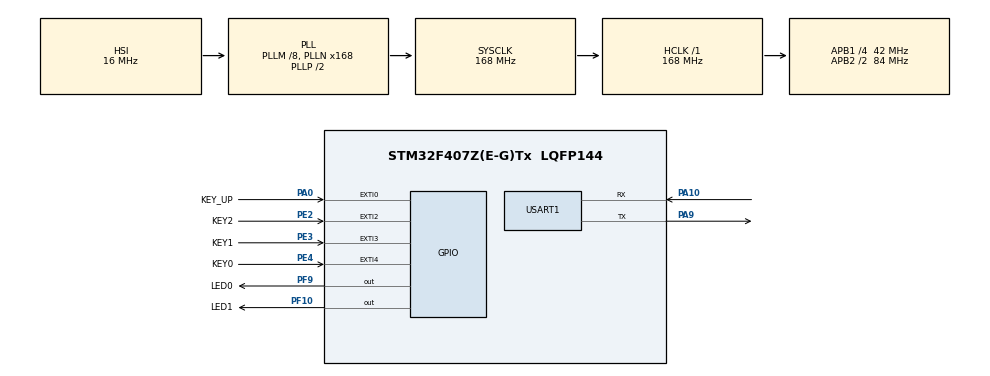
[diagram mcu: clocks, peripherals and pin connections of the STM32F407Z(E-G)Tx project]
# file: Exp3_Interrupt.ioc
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Mcu.Family=STM32F4
Mcu.Name=STM32F407Z(E-G)Tx
Mcu.Package=LQFP144
NVIC.EXTI0_IRQn=true\:0\:0\:false\:false\:true\:true\:true\:true
NVIC.EXTI2_IRQn=true\:0\:0\:false\:false\:true\:true\:true\:true
NVIC.EXTI3_IRQn=true\:0\:0\:false\:false\:true\:true\:true\:true
NVIC.EXTI4_IRQn=true\:0\:0\:false\:false\:true\:true\:true\:true
NVIC.PriorityGroup=NVIC_PRIORITYGROUP_4
PA0-WKUP.GPIO_Label=KEY_UP
PA0-WKUP.GPIO_ModeDefaultEXTI=GPIO_MODE_IT_RISING
PA0-WKUP.GPIO_PuPd=GPIO_PULLDOWN
PA0-WKUP.Signal=GPXTI0
PA10.Mode=Asynchronous
PA10.Signal=USART1_RX
PA9.Mode=Asynchronous
PA9.Signal=USART1_TX
PE2.GPIO_Label=KEY2
PE2.GPIO_ModeDefaultEXTI=GPIO_MODE_IT_FALLING
PE2.GPIO_PuPd=GPIO_PULLUP
PE2.Signal=GPXTI2
PE3.GPIO_Label=KEY1
PE3.GPIO_ModeDefaultEXTI=GPIO_MODE_IT_FALLING
PE3.GPIO_PuPd=GPIO_PULLUP
PE3.Signal=GPXTI3
PE4.GPIO_Label=KEY0
PE4.GPIO_ModeDefaultEXTI=GPIO_MODE_IT_FALLING
PE4.GPIO_PuPd=GPIO_PULLUP
PE4.Signal=GPXTI4
PF10.GPIO_Label=LED1
PF10.GPIO_PuPd=GPIO_PULLUP
PF10.PinState=GPIO_PIN_SET
PF10.Signal=GPIO_Output
PF9.GPIO_Label=LED0
PF9.GPIO_PuPd=GPIO_PULLUP
PF9.PinState=GPIO_PIN_SET
PF9.Signal=GPIO_Output
ProjectManager.HeapSize=0x200
ProjectManager.StackSize=0x400
ProjectManager.TargetToolchain=CMake
RCC.48MHZClocksFreq_Value=84000000
RCC.AHBFreq_Value=168000000
RCC.APB1CLKDivider=RCC_HCLK_DIV4
RCC.APB1Freq_Value=42000000
RCC.APB1TimFreq_Value=84000000
RCC.APB2CLKDivider=RCC_HCLK_DIV2
RCC.APB2Freq_Value=84000000
RCC.APB2TimFreq_Value=168000000
RCC.CortexFreq_Value=168000000
RCC.HCLKFreq_Value=168000000
RCC.HSE_VALUE=25000000
RCC.HSI_VALUE=16000000
RCC.LSE_VALUE=32768
RCC.PLLM=8
RCC.PLLN=168
RCC.SYSCLKFreq_VALUE=168000000
RCC.SYSCLKSource=RCC_SYSCLKSOURCE_PLLCLK
RCC.VCOOutputFreq_Value=336000000
USART1.VirtualMode=VM_ASYNC
board=custom

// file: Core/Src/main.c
/* USER CODE BEGIN Header */
/**
  ******************************************************************************
  * @file           : main.c
  * @brief          : Main program body
  ******************************************************************************
  * @attention
  *
  * Copyright (c) 2026 STMicroelectronics.
  * All rights reserved.
  *
  * This software is licensed under terms that can be found in the LICENSE file
  * in the root directory of this software component.
  * If no LICENSE file comes with this software, it is provided AS-IS.
  *
  ******************************************************************************
  */
/* USER CODE END Header */
#include "main.h"

UART_HandleTypeDef huart1;

/* USER CODE BEGIN PV */
typedef enum {
  IDLE, S0, S1_1, S1_2, S1_3, S2_1, S2_2
} KeyState_t;

KeyState_t currentState = IDLE;
/* USER CODE END PV */

void SystemClock_Config(void);
static void MX_GPIO_Init(void);
static void MX_USART1_UART_Init(void);

/* USER CODE BEGIN 0 */
#include <stdio.h>

#ifdef __GNUC__
#define PUTCHAR_PROTOTYPE int __io_putchar(int ch)
#else
#define PUTCHAR_PROTOTYPE int fputc(int ch, FILE *f)
#endif

PUTCHAR_PROTOTYPE {
  HAL_UART_Transmit(&huart1, (uint8_t *)&ch, 1, 0xFFFF);
  return ch;
}
/* USER CODE END 0 */

int main(void)
{

  /* MCU Configuration--------------------------------------------------------*/

  /* Reset of all peripherals, Initializes the Flash interface and the Systick. */
  HAL_Init();

  /* Configure the system clock */
  SystemClock_Config();

  /* Initialize all configured peripherals */
  MX_GPIO_Init();
  MX_USART1_UART_Init();

  /* Infinite loop */
  while (1)
  {

  }
}

void SystemClock_Config(void)
{
  RCC_OscInitTypeDef RCC_OscInitStruct = {0};
  RCC_ClkInitTypeDef RCC_ClkInitStruct = {0};

  /** Configure the main internal regulator output voltage
  */
  __HAL_RCC_PWR_CLK_ENABLE();
  __HAL_PWR_VOLTAGESCALING_CONFIG(PWR_REGULATOR_VOLTAGE_SCALE1);

  /** Initializes the RCC Oscillators according to the specified parameters
  * in the RCC_OscInitTypeDef structure.
  */
  RCC_OscInitStruct.OscillatorType = RCC_OSCILLATORTYPE_HSI;
  RCC_OscInitStruct.HSIState = RCC_HSI_ON;
  RCC_OscInitStruct.HSICalibrationValue = RCC_HSICALIBRATION_DEFAULT;
  RCC_OscInitStruct.PLL.PLLState = RCC_PLL_ON;
  RCC_OscInitStruct.PLL.PLLSource = RCC_PLLSOURCE_HSI;
  RCC_OscInitStruct.PLL.PLLM = 8;
  RCC_OscInitStruct.PLL.PLLN = 168;
  RCC_OscInitStruct.PLL.PLLP = RCC_PLLP_DIV2;
  RCC_OscInitStruct.PLL.PLLQ = 4;
  if (HAL_RCC_OscConfig(&RCC_OscInitStruct) != HAL_OK)
  {
    Error_Handler();
  }

  /** Initializes the CPU, AHB and APB buses clocks
  */
  RCC_ClkInitStruct.ClockType = RCC_CLOCKTYPE_HCLK|RCC_CLOCKTYPE_SYSCLK
                              |RCC_CLOCKTYPE_PCLK1|RCC_CLOCKTYPE_PCLK2;
  RCC_ClkInitStruct.SYSCLKSource = RCC_SYSCLKSOURCE_PLLCLK;
  RCC_ClkInitStruct.AHBCLKDivider = RCC_SYSCLK_DIV1;
  RCC_ClkInitStruct.APB1CLKDivider = RCC_HCLK_DIV4;
  RCC_ClkInitStruct.APB2CLKDivider = RCC_HCLK_DIV2;

  if (HAL_RCC_ClockConfig(&RCC_ClkInitStruct, FLASH_LATENCY_5) != HAL_OK)
  {
    Error_Handler();
  }
}

static void MX_USART1_UART_Init(void)
{

  huart1.Instance = USART1;
  huart1.Init.BaudRate = 115200;
  huart1.Init.WordLength = UART_WORDLENGTH_8B;
  huart1.Init.StopBits = UART_STOPBITS_1;
  huart1.Init.Parity = UART_PARITY_NONE;
  huart1.Init.Mode = UART_MODE_TX_RX;
  huart1.Init.HwFlowCtl = UART_HWCONTROL_NONE;
  huart1.Init.OverSampling = UART_OVERSAMPLING_16;
  if (HAL_UART_Init(&huart1) != HAL_OK)
  {
    Error_Handler();
  }

}

static void MX_GPIO_Init(void)
{
  GPIO_InitTypeDef GPIO_InitStruct = {0};

  /* GPIO Ports Clock Enable */
  __HAL_RCC_GPIOE_CLK_ENABLE();
  __HAL_RCC_GPIOF_CLK_ENABLE();
  __HAL_RCC_GPIOA_CLK_ENABLE();

  /*Configure GPIO pin Output Level */
  HAL_GPIO_WritePin(GPIOF, LED0_Pin|LED1_Pin, GPIO_PIN_SET);

  /*Configure GPIO pins : KEY2_Pin KEY1_Pin KEY0_Pin */
  GPIO_InitStruct.Pin = KEY2_Pin|KEY1_Pin|KEY0_Pin;
  GPIO_InitStruct.Mode = GPIO_MODE_IT_FALLING;
  GPIO_InitStruct.Pull = GPIO_PULLUP;
  HAL_GPIO_Init(GPIOE, &GPIO_InitStruct);

  /*Configure GPIO pins : LED0_Pin LED1_Pin */
  GPIO_InitStruct.Pin = LED0_Pin|LED1_Pin;
  GPIO_InitStruct.Mode = GPIO_MODE_OUTPUT_PP;
  GPIO_InitStruct.Pull = GPIO_PULLUP;
  GPIO_InitStruct.Speed = GPIO_SPEED_FREQ_LOW;
  HAL_GPIO_Init(GPIOF, &GPIO_InitStruct);

  /*Configure GPIO pin : KEY_UP_Pin */
  GPIO_InitStruct.Pin = KEY_UP_Pin;
  GPIO_InitStruct.Mode = GPIO_MODE_IT_RISING;
  GPIO_InitStruct.Pull = GPIO_PULLDOWN;
  HAL_GPIO_Init(KEY_UP_GPIO_Port, &GPIO_InitStruct);

  /* EXTI interrupt init*/
  HAL_NVIC_SetPriority(EXTI0_IRQn, 0, 0);
  HAL_NVIC_EnableIRQ(EXTI0_IRQn);

  HAL_NVIC_SetPriority(EXTI2_IRQn, 0, 0);
  HAL_NVIC_EnableIRQ(EXTI2_IRQn);

  HAL_NVIC_SetPriority(EXTI3_IRQn, 0, 0);
  HAL_NVIC_EnableIRQ(EXTI3_IRQn);

  HAL_NVIC_SetPriority(EXTI4_IRQn, 0, 0);
  HAL_NVIC_EnableIRQ(EXTI4_IRQn);

}

/* USER CODE BEGIN 4 */
void HAL_GPIO_EXTI_Callback(uint16_t GPIO_Pin) {
  static uint32_t last_tick = 0;
  if (HAL_GetTick() - last_tick < 200) return;
  last_tick = HAL_GetTick();

  int key = -1;

  if (GPIO_Pin == GPIO_PIN_4) { printf("k0, "); key = 0; }
  else if (GPIO_Pin == GPIO_PIN_3) { printf("k1, "); key = 1; }
  else if (GPIO_Pin == GPIO_PIN_2) { printf("k2, "); key = 2; }
  else if (GPIO_Pin == GPIO_PIN_0) { printf("kup, "); key = 3; }

  switch (currentState) {
    case IDLE:
      printf("IDLE\r\n");
      if (key == 0) currentState = S0;
      break;
    case S0:
      printf("S0\r\n");
      if (key == 1) currentState = S1_1;
      else if (key == 0) currentState = S0;
      else currentState = IDLE;
      break;
    case S1_1:
      printf("S1_1\r\n");
      if (key == 1) currentState = S1_2;
      else if (key == 0) currentState = S0;
      else currentState = IDLE;
      break;
    case S1_2:
      printf("S1_2\r\n");
      if (key == 1) currentState = S1_3;
      else if (key == 0) currentState = S0;
      else currentState = IDLE;
      break;
    case S1_3:
      printf("S1_3\r\n");
      if (key == 2) currentState = S2_1;
      else if (key == 0) currentState = S0;
      else currentState = IDLE;
      break;
    case S2_1:
      printf("S2_1\r\n");
      if (key == 2) currentState = S2_2;
      else if (key == 0) currentState = S0;
      else currentState = IDLE;
      break;
    case S2_2:
      printf("S2_2\r\n");
      if (key == 3) {
        HAL_GPIO_TogglePin(LED0_GPIO_Port, LED0_Pin);
        currentState = IDLE;
      } else if (key == 0) currentState = S0;
      else currentState = IDLE;
      break;
  }
}
/* USER CODE END 4 */

void Error_Handler(void)
{
  __disable_irq();
  while (1)
  {
  }
}
